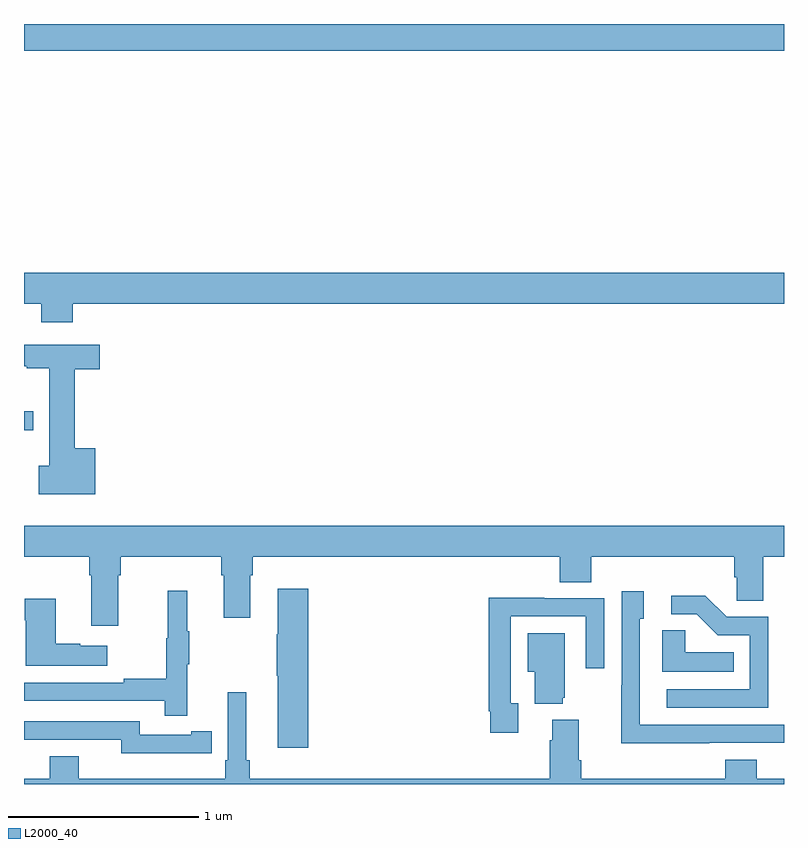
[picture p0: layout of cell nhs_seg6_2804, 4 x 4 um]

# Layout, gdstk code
import gdstk
lib = gdstk.Library(unit=1e-6, precision=1e-09)
def R(c, l, rs):  # rectangles x0, y0, x1, y1
    for r in rs: c.add(gdstk.rectangle(r[:2], r[2:], *l))
def P(c, l, *ps):  # polygons
    for p in ps: c.add(gdstk.Polygon(p, *l))
L2000_40 = (2000, 40)

nhs_seg6_2804 = lib.new_cell('nhs_seg6_2804')
R(nhs_seg6_2804, L2000_40, [(277,921.362,277.048,921.462), (277,923.36,281,923.5)])
P(nhs_seg6_2804, L2000_40, [(277.256,922.028),(281,922.028),(281,922.192),(277,922.192),(277,922.028),(277.091,922.028),(277.091,921.929),(277.256,921.929)],
  [(277.375,921.268),(277.268,921.268),(277.268,921.682),(277.399,921.682),(277.399,921.811),(277,921.811),(277,921.7),(277.014,921.7),(277.014,921.689),(277.133,921.689),(277.133,921.176),(277.077,921.176),(277.077,921.026),(277.375,921.026)],
  [(277.495,920.6),(277.508,920.6),(277.508,920.696),(278.039,920.696),(278.039,920.6),(278.051,920.6),(278.051,920.376),(278.191,920.376),(278.191,920.6),(278.204,920.6),(278.204,920.696),(279.821,920.696),(279.821,920.563),(279.986,920.563),(279.986,920.696),(280.739,920.696),(280.739,920.587),(280.752,920.587),(280.752,920.464),(280.891,920.464),(280.891,920.696),(281,920.696),(281,920.86),(277,920.86),(277,920.696),(277.343,920.696),(277.343,920.6),(277.355,920.6),(277.355,920.334),(277.495,920.334)],
  [(278.495,920.527),(278.336,920.527),(278.336,920.288),(278.329,920.288),(278.329,920.071),(278.336,920.071),(278.336,919.692),(278.495,919.692)],
  [(277.859,920.131),(277.87,920.131),(277.87,920.305),(277.859,920.305),(277.859,920.518),(277.756,920.518),(277.756,920.268),(277.749,920.268),(277.749,920.054),(277.525,920.054),(277.525,920.034),(277,920.034),(277,919.938),(277.741,919.938),(277.741,919.86),(277.859,919.86)],
  [(280.607,919.716),(281,919.716),(281,919.812),(280.242,919.812),(280.242,920.37),(280.261,920.37),(280.261,920.515),(280.146,920.515),(280.146,920.021),(280.144,920.021),(280.144,919.715),(280.607,919.715)],
  [(280.917,920.379),(280.698,920.379),(280.585,920.492),(280.407,920.492),(280.407,920.394),(280.541,920.394),(280.652,920.283),(280.821,920.283),(280.821,919.998),(280.383,919.998),(280.383,919.902),(280.917,919.902)],
  [(279.601,919.926),(279.561,919.926),(279.561,920.382),(279.957,920.382),(279.957,920.109),(280.053,920.109),(280.053,920.478),(279.737,920.478),(279.737,920.48),(279.445,920.48),(279.445,919.882),(279.453,919.882),(279.453,919.77),(279.601,919.77)],
  [(277.438,920.227),(277.295,920.227),(277.295,920.237),(277.168,920.237),(277.168,920.476),(277.003,920.476),(277.003,920.363),(277.01,920.363),(277.01,920.123),(277.438,920.123)],
  [(280.736,920.194),(280.479,920.194),(280.479,920.309),(280.358,920.309),(280.358,920.09),(280.736,920.09)],
  [(279.836,919.953),(279.847,919.953),(279.847,920.293),(279.65,920.293),(279.65,920.09),(279.689,920.09),(279.689,919.922),(279.836,919.922)],
  [(281,919.528),(280.856,919.528),(280.856,919.627),(280.691,919.627),(280.691,919.528),(279.932,919.528),(279.932,919.624),(279.919,919.624),(279.919,919.837),(279.779,919.837),(279.779,919.73),(279.767,919.73),(279.767,919.528),(278.189,919.528),(278.189,919.624),(278.17,919.624),(278.17,919.984),(278.073,919.984),(278.073,919.624),(278.06,919.624),(278.06,919.528),(277.288,919.528),(277.288,919.645),(277.136,919.645),(277.136,919.528),(277,919.528),(277,919.5),(281,919.5)],
  [(277.88,919.662),(277.988,919.662),(277.988,919.778),(277.88,919.778),(277.88,919.758),(277.608,919.758),(277.608,919.83),(277,919.83),(277,919.733),(277.052,919.733),(277.052,919.734),(277.512,919.734),(277.512,919.661),(277.88,919.661)])

lib.write_gds('nhs_seg6_2804.gds')
